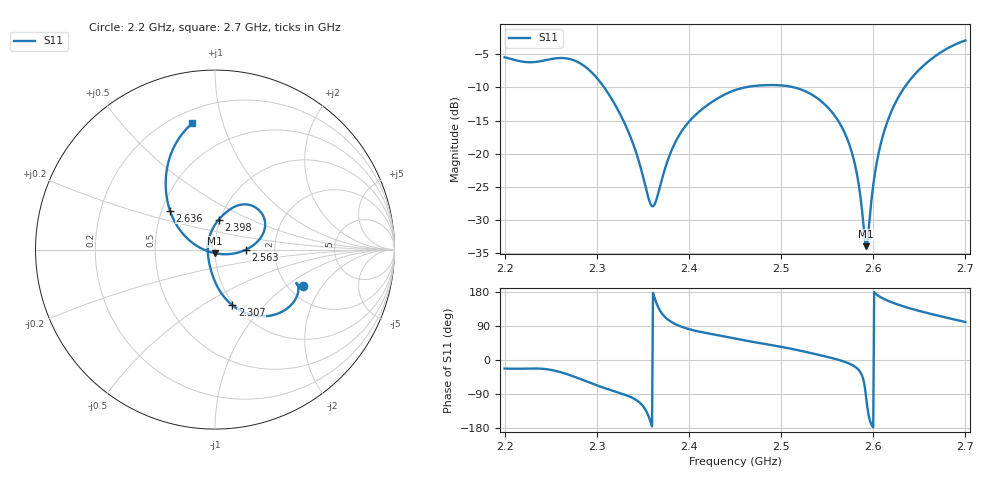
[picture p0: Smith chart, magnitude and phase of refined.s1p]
! PRELIMINARY bare PCB unless shell_eps > 0; see README.md
! L220 output ($1N324), with L220 and C216 excluded and C217 DNP
# Hz S RI R 50
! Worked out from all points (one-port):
!   501 points, 2.2 GHz to 2.7 GHz, reference 50 ohm
!   lowest |S11| = -33.9 dB at 2.592 GHz (marker M1), VSWR 1.04, Z = 49.9 - j2.01 ohm
!   |S11| at or under -10 dB: 2.308 GHz to 2.461 GHz (152.7 MHz wide, 6.4 % of centre); 2.514 GHz to 2.634 GHz (119.6 MHz wide, 4.65 % of centre)
!   S11 on the Smith chart (normalised r, x): 2.2 GHz: 2.39, -1.37; 2.307 GHz: 0.98, -0.68; 2.398 GHz: 0.98, +0.34; 2.563 GHz: 1.42, -0.00; 2.636 GHz: 0.55, +0.27; 2.7 GHz: 0.28, +0.80
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2.2e9  0.4923 -0.2049
2.237e9  0.4579 -0.1902
2.263e9  0.4381 -0.2918
2.286e9  0.2726 -0.3716
2.307e9  0.0958 -0.3093
2.325e9  0.0106 -0.201
2.341e9  -0.0245 -0.1081
2.36e9  -0.0402 -0.00338
2.364e9  -0.0395 0.0184
2.377e9  -0.0262 0.0853
2.388e9  -0.00394 0.1327
2.398e9  0.0206 0.1666
2.422e9  0.0824 0.2232
2.45e9  0.1654 0.2522
2.513e9  0.2789 0.1522
2.541e9  0.2499 0.0599
2.563e9  0.1725 -0.000357
2.575e9  0.1104 -0.0208
2.583e9  0.0609 -0.026
2.592e9  -0.000805 -0.0201
2.594e9  -0.0151 -0.0168
2.602e9  -0.0724 0.00446
2.609e9  -0.1207 0.0338
2.621e9  -0.192 0.1046
2.636e9  -0.2508 0.2174
2.638e9  -0.2559 0.2336
2.668e9  -0.2609 0.4825
2.7e9  -0.1277 0.7026
